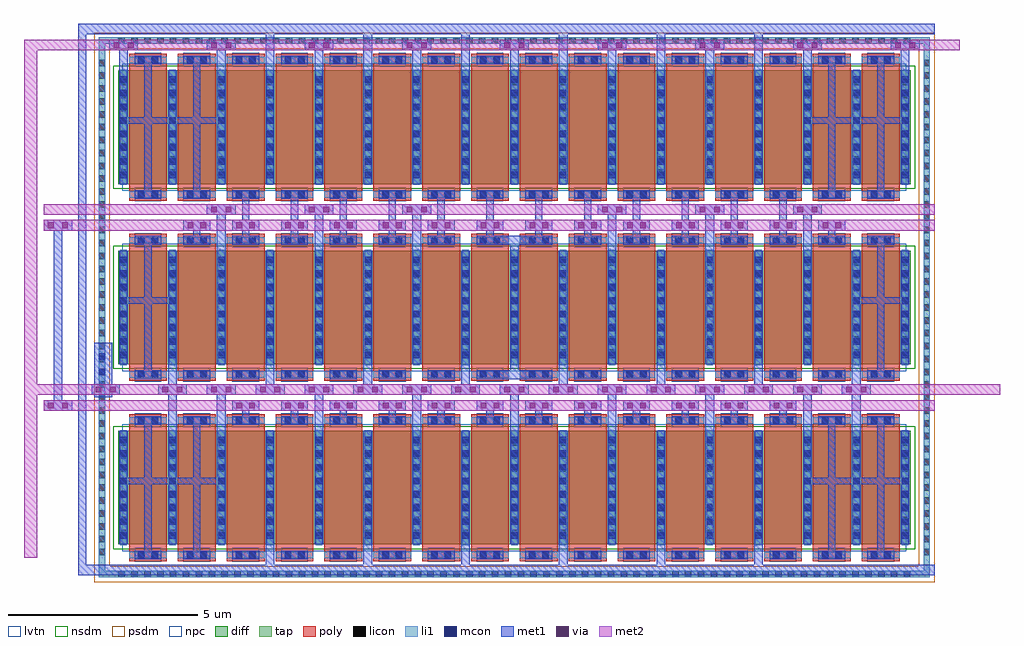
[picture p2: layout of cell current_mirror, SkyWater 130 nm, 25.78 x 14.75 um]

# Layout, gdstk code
import gdstk
lib = gdstk.Library(unit=1e-6, precision=1e-09)
def R(c, l, rs):  # rectangles x0, y0, x1, y1
    for r in rs: c.add(gdstk.rectangle(r[:2], r[2:], *l))
def A(c, l, x, y, w, h, nx, ny, dx, dy):  # array of equal rectangles
    R(c, l, [(x+i*dx, y+j*dy, x+i*dx+w, y+j*dy+h) for i in range(nx) for j in range(ny)])
diff = (65, 20)
tap = (65, 44)
poly = (66, 20)
licon = (66, 44)
li1 = (67, 20)
mcon = (67, 44)
met1 = (68, 20)
via = (68, 44)
met2 = (69, 20)
nsdm = (93, 44)
psdm = (94, 20)
npc = (95, 20)
lvtn = (125, 44)

current_mirror = lib.new_cell('current_mirror')
A(current_mirror, diff, 3.5, 0.995, 20.93, 3, 1, 3, 0, 4.76)
R(current_mirror, tap, [(2.99,0.125,24.94,0.295), (2.99,0.295,3.16,14.215), (24.77,0.295,24.94,14.215), (2.99,14.215,24.94,14.385)])
A(current_mirror, poly, 3.79, 0.555, 1, 3.88, 16, 3, 1.29, 4.76)
A(current_mirror, licon, 3.51, 0.125, 0.17, 0.17, 62, 2, 0.34, 14.09)
A(current_mirror, licon, 2.99, 0.71, 0.17, 0.17, 1, 39, 0, 0.34)
A(current_mirror, licon, 24.77, 0.71, 0.17, 0.17, 1, 39, 0, 0.34)
A(current_mirror, licon, 3.56, 1.22, 0.17, 0.17, 17, 8, 1.29, 0.34)
A(current_mirror, licon, 3.56, 5.98, 0.17, 0.17, 17, 8, 1.29, 0.34)
A(current_mirror, licon, 3.56, 10.74, 0.17, 0.17, 17, 8, 1.29, 0.34)
R(current_mirror, licon, [(4.035,0.635,4.205,0.805), (4.375,0.635,4.545,0.805), (5.325,0.635,5.495,0.805), (5.665,0.635,5.835,0.805), (6.615,0.635,6.785,0.805), (6.955,0.635,7.125,0.805), (7.905,0.635,8.075,0.805), (8.245,0.635,8.415,0.805), (9.195,0.635,9.365,0.805), (9.535,0.635,9.705,0.805), (10.485,0.635,10.655,0.805), (10.825,0.635,10.995,0.805), (11.775,0.635,11.945,0.805), (12.115,0.635,12.285,0.805), (13.065,0.635,13.235,0.805), (13.405,0.635,13.575,0.805), (14.355,0.635,14.525,0.805), (14.695,0.635,14.865,0.805), (15.645,0.635,15.815,0.805), (15.985,0.635,16.155,0.805), (16.935,0.635,17.105,0.805), (17.275,0.635,17.445,0.805), (18.225,0.635,18.395,0.805), (18.565,0.635,18.735,0.805), (19.515,0.635,19.685,0.805), (19.855,0.635,20.025,0.805), (20.805,0.635,20.975,0.805), (21.145,0.635,21.315,0.805), (22.095,0.635,22.265,0.805), (22.435,0.635,22.605,0.805), (23.385,0.635,23.555,0.805), (23.725,0.635,23.895,0.805), (4.035,4.185,4.205,4.355), (4.375,4.185,4.545,4.355), (5.325,4.185,5.495,4.355), (5.665,4.185,5.835,4.355), (6.615,4.185,6.785,4.355), (6.955,4.185,7.125,4.355), (7.905,4.185,8.075,4.355), (8.245,4.185,8.415,4.355), (9.195,4.185,9.365,4.355), (9.535,4.185,9.705,4.355), (10.485,4.185,10.655,4.355), (10.825,4.185,10.995,4.355), (11.775,4.185,11.945,4.355), (12.115,4.185,12.285,4.355), (13.065,4.185,13.235,4.355), (13.405,4.185,13.575,4.355), (14.355,4.185,14.525,4.355), (14.695,4.185,14.865,4.355), (15.645,4.185,15.815,4.355), (15.985,4.185,16.155,4.355), (16.935,4.185,17.105,4.355), (17.275,4.185,17.445,4.355), (18.225,4.185,18.395,4.355), (18.565,4.185,18.735,4.355), (19.515,4.185,19.685,4.355), (19.855,4.185,20.025,4.355), (20.805,4.185,20.975,4.355), (21.145,4.185,21.315,4.355), (22.095,4.185,22.265,4.355), (22.435,4.185,22.605,4.355), (23.385,4.185,23.555,4.355), (23.725,4.185,23.895,4.355), (4.035,5.395,4.205,5.565), (4.375,5.395,4.545,5.565), (5.325,5.395,5.495,5.565), (5.665,5.395,5.835,5.565), (6.615,5.395,6.785,5.565), (6.955,5.395,7.125,5.565), (7.905,5.395,8.075,5.565), (8.245,5.395,8.415,5.565), (9.195,5.395,9.365,5.565), (9.535,5.395,9.705,5.565), (10.485,5.395,10.655,5.565), (10.825,5.395,10.995,5.565), (11.775,5.395,11.945,5.565), (12.115,5.395,12.285,5.565), (13.065,5.395,13.235,5.565), (13.405,5.395,13.575,5.565), (14.355,5.395,14.525,5.565), (14.695,5.395,14.865,5.565), (15.645,5.395,15.815,5.565), (15.985,5.395,16.155,5.565), (16.935,5.395,17.105,5.565), (17.275,5.395,17.445,5.565), (18.225,5.395,18.395,5.565), (18.565,5.395,18.735,5.565), (19.515,5.395,19.685,5.565), (19.855,5.395,20.025,5.565), (20.805,5.395,20.975,5.565), (21.145,5.395,21.315,5.565), (22.095,5.395,22.265,5.565), (22.435,5.395,22.605,5.565), (23.385,5.395,23.555,5.565), (23.725,5.395,23.895,5.565), (4.035,8.945,4.205,9.115), (4.375,8.945,4.545,9.115), (5.325,8.945,5.495,9.115), (5.665,8.945,5.835,9.115), (6.615,8.945,6.785,9.115), (6.955,8.945,7.125,9.115), (7.905,8.945,8.075,9.115), (8.245,8.945,8.415,9.115), (9.195,8.945,9.365,9.115), (9.535,8.945,9.705,9.115), (10.485,8.945,10.655,9.115), (10.825,8.945,10.995,9.115), (11.775,8.945,11.945,9.115), (12.115,8.945,12.285,9.115), (13.065,8.945,13.235,9.115), (13.405,8.945,13.575,9.115), (14.355,8.945,14.525,9.115), (14.695,8.945,14.865,9.115), (15.645,8.945,15.815,9.115), (15.985,8.945,16.155,9.115), (16.935,8.945,17.105,9.115), (17.275,8.945,17.445,9.115), (18.225,8.945,18.395,9.115), (18.565,8.945,18.735,9.115), (19.515,8.945,19.685,9.115), (19.855,8.945,20.025,9.115), (20.805,8.945,20.975,9.115), (21.145,8.945,21.315,9.115), (22.095,8.945,22.265,9.115), (22.435,8.945,22.605,9.115), (23.385,8.945,23.555,9.115), (23.725,8.945,23.895,9.115), (4.035,10.155,4.205,10.325), (4.375,10.155,4.545,10.325), (5.325,10.155,5.495,10.325), (5.665,10.155,5.835,10.325), (6.615,10.155,6.785,10.325), (6.955,10.155,7.125,10.325), (7.905,10.155,8.075,10.325), (8.245,10.155,8.415,10.325), (9.195,10.155,9.365,10.325), (9.535,10.155,9.705,10.325), (10.485,10.155,10.655,10.325), (10.825,10.155,10.995,10.325), (11.775,10.155,11.945,10.325), (12.115,10.155,12.285,10.325), (13.065,10.155,13.235,10.325), (13.405,10.155,13.575,10.325), (14.355,10.155,14.525,10.325), (14.695,10.155,14.865,10.325), (15.645,10.155,15.815,10.325), (15.985,10.155,16.155,10.325), (16.935,10.155,17.105,10.325), (17.275,10.155,17.445,10.325), (18.225,10.155,18.395,10.325), (18.565,10.155,18.735,10.325), (19.515,10.155,19.685,10.325), (19.855,10.155,20.025,10.325), (20.805,10.155,20.975,10.325), (21.145,10.155,21.315,10.325), (22.095,10.155,22.265,10.325), (22.435,10.155,22.605,10.325), (23.385,10.155,23.555,10.325), (23.725,10.155,23.895,10.325), (4.035,13.705,4.205,13.875), (4.375,13.705,4.545,13.875), (5.325,13.705,5.495,13.875), (5.665,13.705,5.835,13.875), (6.615,13.705,6.785,13.875), (6.955,13.705,7.125,13.875), (7.905,13.705,8.075,13.875), (8.245,13.705,8.415,13.875), (9.195,13.705,9.365,13.875), (9.535,13.705,9.705,13.875), (10.485,13.705,10.655,13.875), (10.825,13.705,10.995,13.875), (11.775,13.705,11.945,13.875), (12.115,13.705,12.285,13.875), (13.065,13.705,13.235,13.875), (13.405,13.705,13.575,13.875), (14.355,13.705,14.525,13.875), (14.695,13.705,14.865,13.875), (15.645,13.705,15.815,13.875), (15.985,13.705,16.155,13.875), (16.935,13.705,17.105,13.875), (17.275,13.705,17.445,13.875), (18.225,13.705,18.395,13.875), (18.565,13.705,18.735,13.875), (19.515,13.705,19.685,13.875), (19.855,13.705,20.025,13.875), (20.805,13.705,20.975,13.875), (21.145,13.705,21.315,13.875), (22.095,13.705,22.265,13.875), (22.435,13.705,22.605,13.875), (23.385,13.705,23.555,13.875), (23.725,13.705,23.895,13.875)])
A(current_mirror, li1, 3.79, 0.635, 1, 0.17, 16, 2, 1.29, 3.55)
A(current_mirror, li1, 3.56, 0.975, 0.17, 3.04, 17, 3, 1.29, 4.76)
A(current_mirror, li1, 3.79, 5.395, 1, 0.17, 16, 2, 1.29, 3.55)
A(current_mirror, li1, 3.79, 10.155, 1, 0.17, 16, 2, 1.29, 3.55)
R(current_mirror, li1, [(2.99,0.125,24.94,0.295), (2.99,0.295,3.16,14.215), (24.77,0.295,24.94,14.215), (2.99,14.215,24.94,14.385)])
A(current_mirror, mcon, 3.56, 1.15, 0.17, 0.17, 17, 8, 1.29, 0.36)
A(current_mirror, mcon, 3.56, 5.91, 0.17, 0.17, 17, 8, 1.29, 0.36)
A(current_mirror, mcon, 3.56, 10.67, 0.17, 0.17, 17, 8, 1.29, 0.36)
R(current_mirror, mcon, [(4.025,0.635,4.195,0.805), (4.385,0.635,4.555,0.805), (5.315,0.635,5.485,0.805), (5.675,0.635,5.845,0.805), (6.605,0.635,6.775,0.805), (6.965,0.635,7.135,0.805), (7.895,0.635,8.065,0.805), (8.255,0.635,8.425,0.805), (9.185,0.635,9.355,0.805), (9.545,0.635,9.715,0.805), (10.475,0.635,10.645,0.805), (10.835,0.635,11.005,0.805), (11.765,0.635,11.935,0.805), (12.125,0.635,12.295,0.805), (13.055,0.635,13.225,0.805), (13.415,0.635,13.585,0.805), (14.345,0.635,14.515,0.805), (14.705,0.635,14.875,0.805), (15.635,0.635,15.805,0.805), (15.995,0.635,16.165,0.805), (16.925,0.635,17.095,0.805), (17.285,0.635,17.455,0.805), (18.215,0.635,18.385,0.805), (18.575,0.635,18.745,0.805), (19.505,0.635,19.675,0.805), (19.865,0.635,20.035,0.805), (20.795,0.635,20.965,0.805), (21.155,0.635,21.325,0.805), (22.085,0.635,22.255,0.805), (22.445,0.635,22.615,0.805), (23.375,0.635,23.545,0.805), (23.735,0.635,23.905,0.805), (4.025,4.185,4.195,4.355), (4.385,4.185,4.555,4.355), (5.315,4.185,5.485,4.355), (5.675,4.185,5.845,4.355), (6.605,4.185,6.775,4.355), (6.965,4.185,7.135,4.355), (7.895,4.185,8.065,4.355), (8.255,4.185,8.425,4.355), (9.185,4.185,9.355,4.355), (9.545,4.185,9.715,4.355), (10.475,4.185,10.645,4.355), (10.835,4.185,11.005,4.355), (11.765,4.185,11.935,4.355), (12.125,4.185,12.295,4.355), (13.055,4.185,13.225,4.355), (13.415,4.185,13.585,4.355), (14.345,4.185,14.515,4.355), (14.705,4.185,14.875,4.355), (15.635,4.185,15.805,4.355), (15.995,4.185,16.165,4.355), (16.925,4.185,17.095,4.355), (17.285,4.185,17.455,4.355), (18.215,4.185,18.385,4.355), (18.575,4.185,18.745,4.355), (19.505,4.185,19.675,4.355), (19.865,4.185,20.035,4.355), (20.795,4.185,20.965,4.355), (21.155,4.185,21.325,4.355), (22.085,4.185,22.255,4.355), (22.445,4.185,22.615,4.355), (23.375,4.185,23.545,4.355), (23.735,4.185,23.905,4.355), (4.025,5.395,4.195,5.565), (4.385,5.395,4.555,5.565), (5.315,5.395,5.485,5.565), (5.675,5.395,5.845,5.565), (6.605,5.395,6.775,5.565), (6.965,5.395,7.135,5.565), (7.895,5.395,8.065,5.565), (8.255,5.395,8.425,5.565), (9.185,5.395,9.355,5.565), (9.545,5.395,9.715,5.565), (10.475,5.395,10.645,5.565), (10.835,5.395,11.005,5.565), (11.765,5.395,11.935,5.565), (12.125,5.395,12.295,5.565), (13.055,5.395,13.225,5.565), (13.415,5.395,13.585,5.565), (14.345,5.395,14.515,5.565), (14.705,5.395,14.875,5.565), (15.635,5.395,15.805,5.565), (15.995,5.395,16.165,5.565), (16.925,5.395,17.095,5.565), (17.285,5.395,17.455,5.565), (18.215,5.395,18.385,5.565), (18.575,5.395,18.745,5.565), (19.505,5.395,19.675,5.565), (19.865,5.395,20.035,5.565), (20.795,5.395,20.965,5.565), (21.155,5.395,21.325,5.565), (22.085,5.395,22.255,5.565), (22.445,5.395,22.615,5.565), (23.375,5.395,23.545,5.565), (23.735,5.395,23.905,5.565), (2.99,5.47,3.16,5.64), (2.99,5.87,3.16,6.04), (4.025,8.945,4.195,9.115), (4.385,8.945,4.555,9.115), (5.315,8.945,5.485,9.115), (5.675,8.945,5.845,9.115), (6.605,8.945,6.775,9.115), (6.965,8.945,7.135,9.115), (7.895,8.945,8.065,9.115), (8.255,8.945,8.425,9.115), (9.185,8.945,9.355,9.115), (9.545,8.945,9.715,9.115), (10.475,8.945,10.645,9.115), (10.835,8.945,11.005,9.115), (11.765,8.945,11.935,9.115), (12.125,8.945,12.295,9.115), (13.055,8.945,13.225,9.115), (13.415,8.945,13.585,9.115), (14.345,8.945,14.515,9.115), (14.705,8.945,14.875,9.115), (15.635,8.945,15.805,9.115), (15.995,8.945,16.165,9.115), (16.925,8.945,17.095,9.115), (17.285,8.945,17.455,9.115), (18.215,8.945,18.385,9.115), (18.575,8.945,18.745,9.115), (19.505,8.945,19.675,9.115), (19.865,8.945,20.035,9.115), (20.795,8.945,20.965,9.115), (21.155,8.945,21.325,9.115), (22.085,8.945,22.255,9.115), (22.445,8.945,22.615,9.115), (23.375,8.945,23.545,9.115), (23.735,8.945,23.905,9.115), (4.025,10.155,4.195,10.325), (4.385,10.155,4.555,10.325), (5.315,10.155,5.485,10.325), (5.675,10.155,5.845,10.325), (6.605,10.155,6.775,10.325), (6.965,10.155,7.135,10.325), (7.895,10.155,8.065,10.325), (8.255,10.155,8.425,10.325), (9.185,10.155,9.355,10.325), (9.545,10.155,9.715,10.325), (10.475,10.155,10.645,10.325), (10.835,10.155,11.005,10.325), (11.765,10.155,11.935,10.325), (12.125,10.155,12.295,10.325), (13.055,10.155,13.225,10.325), (13.415,10.155,13.585,10.325), (14.345,10.155,14.515,10.325), (14.705,10.155,14.875,10.325), (15.635,10.155,15.805,10.325), (15.995,10.155,16.165,10.325), (16.925,10.155,17.095,10.325), (17.285,10.155,17.455,10.325), (18.215,10.155,18.385,10.325), (18.575,10.155,18.745,10.325), (19.505,10.155,19.675,10.325), (19.865,10.155,20.035,10.325), (20.795,10.155,20.965,10.325), (21.155,10.155,21.325,10.325), (22.085,10.155,22.255,10.325), (22.445,10.155,22.615,10.325), (23.375,10.155,23.545,10.325), (23.735,10.155,23.905,10.325), (4.025,13.705,4.195,13.875), (4.385,13.705,4.555,13.875), (5.315,13.705,5.485,13.875), (5.675,13.705,5.845,13.875), (6.605,13.705,6.775,13.875), (6.965,13.705,7.135,13.875), (7.895,13.705,8.065,13.875), (8.255,13.705,8.425,13.875), (9.185,13.705,9.355,13.875), (9.545,13.705,9.715,13.875), (10.475,13.705,10.645,13.875), (10.835,13.705,11.005,13.875), (11.765,13.705,11.935,13.875), (12.125,13.705,12.295,13.875), (13.055,13.705,13.225,13.875), (13.415,13.705,13.585,13.875), (14.345,13.705,14.515,13.875), (14.705,13.705,14.875,13.875), (15.635,13.705,15.805,13.875), (15.995,13.705,16.165,13.875), (16.925,13.705,17.095,13.875), (17.285,13.705,17.455,13.875), (18.215,13.705,18.385,13.875), (18.575,13.705,18.745,13.875), (19.505,13.705,19.675,13.875), (19.865,13.705,20.035,13.875), (20.795,13.705,20.965,13.875), (21.155,13.705,21.325,13.875), (22.085,13.705,22.255,13.875), (22.445,13.705,22.615,13.875), (23.375,13.705,23.545,13.875), (23.735,13.705,23.905,13.875)])
A(current_mirror, met1, 7.4, 0.465, 0.23, 3.53, 6, 2, 2.58, 4.76)
A(current_mirror, met1, 3.935, 0.605, 0.71, 0.23, 16, 2, 1.29, 3.55)
A(current_mirror, met1, 4.195, 0.835, 0.19, 1.755, 1, 3, 0, 4.76)
A(current_mirror, met1, 23.545, 0.835, 0.19, 1.755, 1, 3, 0, 4.76)
A(current_mirror, met1, 3.53, 0.995, 0.23, 1.595, 3, 2, 1.29, 9.52)
A(current_mirror, met1, 8.69, 0.995, 0.23, 3.95, 5, 1, 2.58, 0)
A(current_mirror, met1, 21.59, 0.995, 0.23, 1.595, 3, 2, 1.29, 9.52)
A(current_mirror, met1, 4.195, 2.76, 0.19, 1.395, 1, 3, 0, 4.76)
A(current_mirror, met1, 23.545, 2.76, 0.19, 1.395, 1, 3, 0, 4.76)
A(current_mirror, met1, 6.775, 4.385, 0.19, 0.14, 12, 1, 1.29, 0)
A(current_mirror, met1, 6.515, 4.525, 0.71, 0.28, 12, 1, 1.29, 0)
A(current_mirror, met1, 4.555, 4.945, 0.76, 0.28, 15, 1, 1.29, 0)
A(current_mirror, met1, 3.935, 5.365, 0.71, 0.23, 7, 2, 1.29, 3.55)
A(current_mirror, met1, 15.545, 5.365, 0.71, 0.23, 7, 2, 1.29, 3.55)
A(current_mirror, met1, 6.11, 5.755, 0.23, 3.95, 3, 1, 2.58, 0)
A(current_mirror, met1, 16.43, 5.755, 0.23, 3.95, 3, 1, 2.58, 0)
A(current_mirror, met1, 5.485, 9.145, 0.19, 0.14, 14, 1, 1.29, 0)
A(current_mirror, met1, 5.225, 9.285, 0.71, 0.28, 14, 1, 1.29, 0)
A(current_mirror, met1, 6.775, 9.565, 0.19, 0.56, 12, 1, 1.29, 0)
A(current_mirror, met1, 5.845, 9.705, 0.76, 0.28, 3, 1, 2.58, 0)
A(current_mirror, met1, 16.165, 9.705, 0.76, 0.28, 3, 1, 2.58, 0)
A(current_mirror, met1, 3.935, 10.125, 0.71, 0.23, 16, 2, 1.29, 3.55)
A(current_mirror, met1, 7.4, 10.515, 0.23, 3.95, 6, 1, 2.58, 0)
A(current_mirror, met1, 8.69, 10.515, 0.23, 3.53, 5, 1, 2.58, 0)
A(current_mirror, met1, 3.265, 14.045, 0.76, 0.28, 9, 1, 2.58, 0)
R(current_mirror, met1, [(2.445,0.185,25.065,0.465), (2.445,0.465,2.665,14.465), (5.485,0.835,5.675,2.59), (22.255,0.835,22.445,2.59), (3.53,2.59,6.34,2.76), (21.59,2.59,24.4,2.76), (3.53,2.76,3.76,3.995), (4.82,2.76,5.05,4.945), (5.485,2.76,5.675,4.155), (6.11,2.76,6.34,4.945), (21.59,2.76,21.82,4.945), (22.255,2.76,22.445,4.155), (22.88,2.76,23.11,4.945), (24.17,2.76,24.4,3.995), (1.53,4.525,2.29,4.805), (1.795,4.805,2.025,9.285), (2.865,4.89,3.345,4.945), (2.81,4.945,3.55,5.225), (2.865,5.225,3.345,6.32), (4.82,5.225,5.05,7.35), (22.88,5.225,23.11,7.35), (12.965,5.365,14.965,5.595), (13.85,5.595,14.08,8.915), (3.53,5.755,3.76,7.35), (24.17,5.755,24.4,7.35), (3.53,7.35,5.05,7.52), (22.88,7.35,24.4,7.52), (3.53,7.52,3.76,8.755), (4.82,7.52,5.05,8.755), (22.88,7.52,23.11,8.755), (24.17,7.52,24.4,8.755), (12.965,8.915,14.965,9.145), (1.53,9.285,2.29,9.565), (5.485,10.355,5.675,12.11), (22.255,10.355,22.445,12.11), (3.53,12.11,6.34,12.28), (21.59,12.11,24.4,12.28), (3.53,12.28,3.76,14.045), (4.82,12.28,5.05,13.515), (5.485,12.28,5.675,13.675), (6.11,12.28,6.34,14.045), (21.59,12.28,21.82,14.045), (22.255,12.28,22.445,13.675), (22.88,12.28,23.11,13.515), (24.17,12.28,24.4,14.045), (2.445,14.465,25.065,14.745)])
R(current_mirror, via, [(1.645,4.59,1.795,4.74), (2.025,4.59,2.175,4.74), (6.625,4.59,6.775,4.74), (6.965,4.59,7.115,4.74), (7.915,4.59,8.065,4.74), (8.255,4.59,8.405,4.74), (9.205,4.59,9.355,4.74), (9.545,4.59,9.695,4.74), (10.495,4.59,10.645,4.74), (10.835,4.59,10.985,4.74), (11.785,4.59,11.935,4.74), (12.125,4.59,12.275,4.74), (13.075,4.59,13.225,4.74), (13.415,4.59,13.565,4.74), (14.365,4.59,14.515,4.74), (14.705,4.59,14.855,4.74), (15.655,4.59,15.805,4.74), (15.995,4.59,16.145,4.74), (16.945,4.59,17.095,4.74), (17.285,4.59,17.435,4.74), (18.235,4.59,18.385,4.74), (18.575,4.59,18.725,4.74), (19.525,4.59,19.675,4.74), (19.865,4.59,20.015,4.74), (20.815,4.59,20.965,4.74), (21.155,4.59,21.305,4.74), (2.905,5.01,3.055,5.16), (3.285,5.01,3.435,5.16), (4.67,5.01,4.82,5.16), (5.05,5.01,5.2,5.16), (5.96,5.01,6.11,5.16), (6.34,5.01,6.49,5.16), (7.25,5.01,7.4,5.16), (7.63,5.01,7.78,5.16), (8.54,5.01,8.69,5.16), (8.92,5.01,9.07,5.16), (9.83,5.01,9.98,5.16), (10.21,5.01,10.36,5.16), (11.12,5.01,11.27,5.16), (11.5,5.01,11.65,5.16), (12.41,5.01,12.56,5.16), (12.79,5.01,12.94,5.16), (13.7,5.01,13.85,5.16), (14.08,5.01,14.23,5.16), (14.99,5.01,15.14,5.16), (15.37,5.01,15.52,5.16), (16.28,5.01,16.43,5.16), (16.66,5.01,16.81,5.16), (17.57,5.01,17.72,5.16), (17.95,5.01,18.1,5.16), (18.86,5.01,19.01,5.16), (19.24,5.01,19.39,5.16), (20.15,5.01,20.3,5.16), (20.53,5.01,20.68,5.16), (21.44,5.01,21.59,5.16), (21.82,5.01,21.97,5.16), (22.73,5.01,22.88,5.16), (23.11,5.01,23.26,5.16), (1.645,9.35,1.795,9.5), (2.025,9.35,2.175,9.5), (5.335,9.35,5.485,9.5), (5.675,9.35,5.825,9.5), (6.625,9.35,6.775,9.5), (6.965,9.35,7.115,9.5), (7.915,9.35,8.065,9.5), (8.255,9.35,8.405,9.5), (9.205,9.35,9.355,9.5), (9.545,9.35,9.695,9.5), (10.495,9.35,10.645,9.5), (10.835,9.35,10.985,9.5), (11.785,9.35,11.935,9.5), (12.125,9.35,12.275,9.5), (13.075,9.35,13.225,9.5), (13.415,9.35,13.565,9.5), (14.365,9.35,14.515,9.5), (14.705,9.35,14.855,9.5), (15.655,9.35,15.805,9.5), (15.995,9.35,16.145,9.5), (16.945,9.35,17.095,9.5), (17.285,9.35,17.435,9.5), (18.235,9.35,18.385,9.5), (18.575,9.35,18.725,9.5), (19.525,9.35,19.675,9.5), (19.865,9.35,20.015,9.5), (20.815,9.35,20.965,9.5), (21.155,9.35,21.305,9.5), (22.105,9.35,22.255,9.5), (22.445,9.35,22.595,9.5), (5.96,9.77,6.11,9.92), (6.34,9.77,6.49,9.92), (8.54,9.77,8.69,9.92), (8.92,9.77,9.07,9.92), (11.12,9.77,11.27,9.92), (11.5,9.77,11.65,9.92), (16.28,9.77,16.43,9.92), (16.66,9.77,16.81,9.92), (18.86,9.77,19.01,9.92), (19.24,9.77,19.39,9.92), (21.44,9.77,21.59,9.92), (21.82,9.77,21.97,9.92), (3.38,14.11,3.53,14.26), (3.76,14.11,3.91,14.26), (5.96,14.11,6.11,14.26), (6.34,14.11,6.49,14.26), (8.54,14.11,8.69,14.26), (8.92,14.11,9.07,14.26), (11.12,14.11,11.27,14.26), (11.5,14.11,11.65,14.26), (13.7,14.11,13.85,14.26), (14.08,14.11,14.23,14.26), (16.28,14.11,16.43,14.26), (16.66,14.11,16.81,14.26), (18.86,14.11,19.01,14.26), (19.24,14.11,19.39,14.26), (21.44,14.11,21.59,14.26), (21.82,14.11,21.97,14.26), (24.02,14.11,24.17,14.26), (24.4,14.11,24.55,14.26)])
R(current_mirror, met2, [(1.015,0.645,1.365,4.945), (1.53,4.525,25.065,4.805), (1.015,4.945,26.79,5.225), (1.015,5.225,1.365,14.045), (1.53,9.285,25.065,9.565), (1.53,9.705,25.065,9.985), (1.015,14.045,25.725,14.325)])
A(current_mirror, nsdm, 3.375, 0.87, 21.18, 3.25, 1, 3, 0, 4.76)
R(current_mirror, psdm, [(2.865,0,25.065,0.42), (2.865,0.42,3.285,14.09), (24.645,0.42,25.065,14.09), (2.865,14.09,25.065,14.51)])
A(current_mirror, npc, 3.935, 0.535, 0.71, 0.37, 16, 2, 1.29, 3.55)
A(current_mirror, npc, 3.935, 5.295, 0.71, 0.37, 16, 2, 1.29, 3.55)
A(current_mirror, npc, 3.935, 10.055, 0.71, 0.37, 16, 2, 1.29, 3.55)
A(current_mirror, lvtn, 3.61, 0.815, 20.71, 3.36, 1, 3, 0, 4.76)

lib.write_gds('current_mirror.gds')
